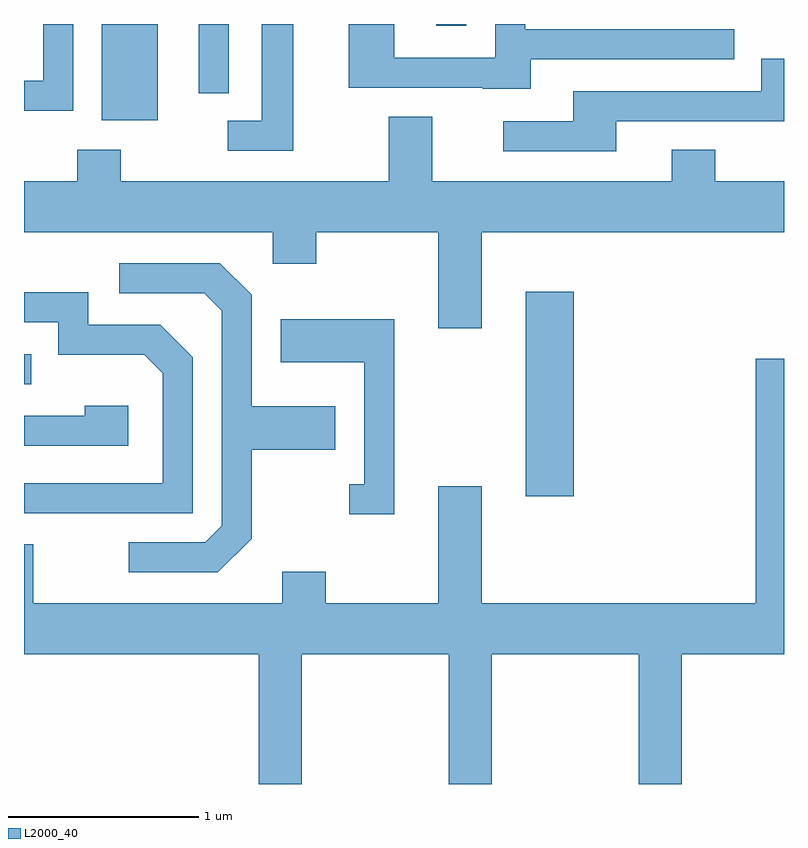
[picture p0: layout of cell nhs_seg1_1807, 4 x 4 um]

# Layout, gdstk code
import gdstk
lib = gdstk.Library(unit=1e-6, precision=1e-09)
def R(c, l, rs):  # rectangles x0, y0, x1, y1
    for r in rs: c.add(gdstk.rectangle(r[:2], r[2:], *l))
def P(c, l, *ps):  # polygons
    for p in ps: c.add(gdstk.Polygon(p, *l))
L2000_40 = (2000, 40)

nhs_seg1_1807 = lib.new_cell('nhs_seg1_1807')
R(nhs_seg1_1807, L2000_40, [(242.251,969.226,242.504,970.304), (239.611,969.816,239.648,969.974), (240.021,971.206,240.314,971.712), (240.531,971.348,240.689,971.712), (241.781,971.703,241.939,971.712)])
P(nhs_seg1_1807, L2000_40, [(242.279,971.526),(243.348,971.526),(243.348,971.684),(242.249,971.684),(242.249,971.712),(242.091,971.712),(242.091,971.534),(241.559,971.534),(241.559,971.712),(241.321,971.712),(241.321,971.376),(242.025,971.376),(242.025,971.371),(242.279,971.371)],
  [(241.029,971.712),(240.861,971.712),(240.861,971.204),(240.683,971.204),(240.683,971.046),(241.029,971.046)],
  [(239.869,971.712),(239.711,971.712),(239.711,971.414),(239.611,971.414),(239.611,971.256),(239.869,971.256)],
  [(242.729,971.201),(243.611,971.201),(243.611,971.529),(243.491,971.529),(243.491,971.359),(242.501,971.359),(242.501,971.199),(242.133,971.199),(242.133,971.041),(242.729,971.041)],
  [(242.019,970.616),(243.611,970.616),(243.611,970.884),(243.249,970.884),(243.249,971.049),(243.021,971.049),(243.021,970.884),(241.759,970.884),(241.759,971.224),(241.531,971.224),(241.531,970.884),(240.119,970.884),(240.119,971.049),(239.891,971.049),(239.891,970.884),(239.611,970.884),(239.611,970.616),(240.921,970.616),(240.921,970.451),(241.149,970.451),(241.149,970.616),(241.791,970.616),(241.791,970.111),(242.019,970.111)],
  [(240.809,969.004),(240.809,969.471),(241.249,969.471),(241.249,969.699),(240.809,969.699),(240.809,970.287),(240.642,970.454),(240.113,970.454),(240.113,970.296),(240.559,970.296),(240.651,970.204),(240.651,969.072),(240.564,968.984),(240.163,968.984),(240.163,968.826),(240.632,968.826)],
  [(240.499,969.957),(240.327,970.129),(239.949,970.129),(239.949,970.299),(239.611,970.299),(239.611,970.141),(239.791,970.141),(239.791,969.971),(240.244,969.971),(240.341,969.874),(240.341,969.294),(239.611,969.294),(239.611,969.136),(240.499,969.136)],
  [(241.559,970.159),(240.961,970.159),(240.961,969.931),(241.401,969.931),(241.401,969.289),(241.323,969.289),(241.323,969.131),(241.559,969.131)],
  [(241.074,968.396),(241.846,968.396),(241.846,967.712),(242.074,967.712),(242.074,968.396),(242.846,968.396),(242.846,967.712),(243.074,967.712),(243.074,968.396),(243.611,968.396),(243.611,969.949),(243.461,969.949),(243.461,968.664),(242.019,968.664),(242.019,969.279),(241.791,969.279),(241.791,968.664),(241.199,968.664),(241.199,968.829),(240.971,968.829),(240.971,968.664),(239.659,968.664),(239.659,968.974),(239.611,968.974),(239.611,968.396),(240.846,968.396),(240.846,967.712),(241.074,967.712)],
  [(240.159,969.704),(239.931,969.704),(239.931,969.649),(239.611,969.649),(239.611,969.491),(240.159,969.491)])

lib.write_gds('nhs_seg1_1807.gds')
